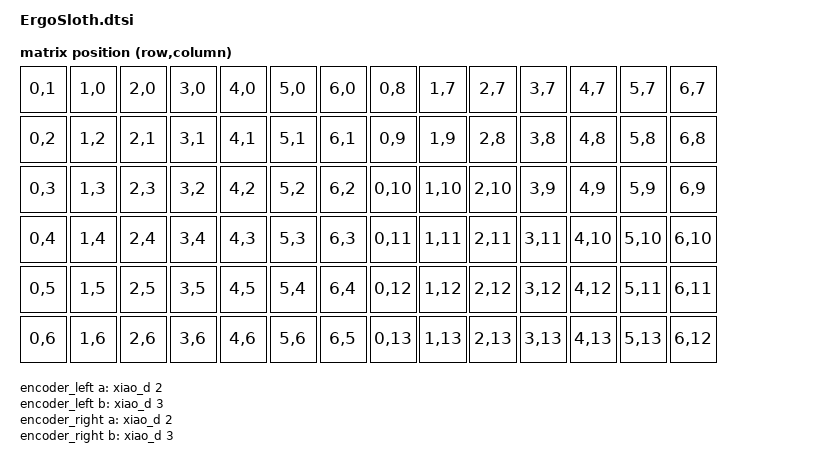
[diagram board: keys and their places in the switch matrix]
/*
 * Copyright (c) 2020 Pete Johanson
 *
 * SPDX-License-Identifier: MIT
 */

#include <physical_layouts.dtsi>
#include <dt-bindings/zmk/matrix_transform.h>
#include <dt-bindings/zmk/input_transform.h>
#include <dt-bindings/zmk/pointing.h>
#include <dt-bindings/zmk/bt.h>
#include <zephyr/dt-bindings/input/input-event-codes.h>
/* Reference: https://docs.zephyrproject.org/apidoc/latest/group__input__events.html */

#include "ErgoSloth-layouts.dtsi"

// Enable Analog Input
&adc {
	status = "okay";
};

// Inactivate I2C
&xiao_i2c { status = "disabled"; };

/ {

// encoders
    encoder_left: encoder_left {
        compatible = "alps,ec11";
        a-gpios = <&xiao_d 2 (GPIO_ACTIVE_HIGH | GPIO_PULL_UP)>;
        b-gpios = <&xiao_d 3 (GPIO_ACTIVE_HIGH | GPIO_PULL_UP)>;
        steps = <15>;
        status = "disabled";
    };

    encoder_right: encoder_right {
        compatible = "alps,ec11";
        a-gpios = <&xiao_d 2 (GPIO_ACTIVE_HIGH | GPIO_PULL_UP)>;
        b-gpios = <&xiao_d 3 (GPIO_ACTIVE_HIGH | GPIO_PULL_UP)>;
        steps = <15>;
        status = "disabled";
    };

    sensors: sensors {
        compatible = "zmk,keymap-sensors";
        sensors = <&encoder_left &encoder_right>;
        //triggers-per-rotation = <30>;  // From DataSheet
		triggers-per-rotation = <12>;
    };

// split options
    split_inputs {
        #address-cells = <1>;
        #size-cells = <0>;
/*
        glidepoint_left_split: glidepoint_left_split@1 {
            compatible = "zmk,input-split";
            reg = <1>;
        };
*/
        analog_joystick_left_split: analog_left_split@2 {
            compatible = "zmk,input-split";
            reg = <2>;
        };
    };

// trackball
    trackball_right_listener: trackball_right_listener {
        compatible = "zmk,input-listener";
        status = "disabled";
    };
/*
// touchpad
    glidepoint_left_listener: glidepoint_left_listener {
        compatible = "zmk,input-listener";
        status = "disabled";
        device = <&glidepoint_left_split>;
    };
*/
// joysticks
    analog_joystick_right_listener: analog_joystick_right_listener {
        status = "disabled";
        compatible = "zmk,input-listener";
    };

    analog_joystick_left_listener: analog_joystick_left_listener {
        status = "disabled";
        compatible = "zmk,input-listener";
        device = <&analog_joystick_left_split>;
    };

// keymap
    default_transform: keymap_transform_0 {
        compatible = "zmk,matrix-transform";
        columns = <14>;
        rows = <7>;

        //               | SW11 | SW16 | SW21 | SW26 |   | SW61 | SW66 | SW71 | SW76 |
        // | SW1  | SW6  | SW12 | SW17 | SW22 | SW27 |   | SW62 | SW67 | SW72 | SW77 | SW81 | SW86 |
        // | SW2  | SW7  | SW13 | SW18 | SW23 | SW28 |   | SW63 | SW68 | SW73 | SW78 | SW82 | SW87 |
        // | SW3  | SW8  | SW14 | SW19 | SW24 | SW29 |   | SW64 | SW69 | SW74 | SW79 | SW83 | SW88 |
        // | SW4  | SW9  | SW15 | SW20 | SW25 | SW30 |   | SW65 | SW70 | SW75 | SW80 | SW84 | SW89 |
        // | SW5  | SW10 | SW32 | SW33 | SW34 | (LAJS/   (RAJS) | SW95 | SW96 | SW97 | SW85 | SW90 |
        //                                      TouchPad)
        // 		                              | SW37 |   | SW92 |	    (TrackBall)
        // 							   | SW36 |					| SW93 |
        // | SW31 |				| SW35 |							   | SW94 |				| SW91 |
        //    (LeftRotaryEncoder)                                             (RightRotaryEncoder)
        //		  | SW38 |															 | SW98 |
        // | SW39 | SW42 | SW41 |											  | SW99 | SW102| SW101|
        // 		  | SW40 |															 | SW100|
        //                                             ||
        //                                           __||__
        //                                            \  /
        //                                             \/
		//
        // | SW1  | SW6  | SW11 | SW16 | SW21 | SW26 | SW32 |   | SW61 | SW66 | SW71 | SW76 | SW81 | SW86 | SW92 |
        // | SW2  | SW7  | SW12 | SW17 | SW22 | SW27 | SW33 |   | SW62 | SW67 | SW72 | SW77 | SW82 | SW87 | SW93 |
        // | SW3  | SW8  | SW13 | SW18 | SW23 | SW28 | SW34 |   | SW63 | SW68 | SW73 | SW78 | SW83 | SW88 | SW94 |
        // | SW4  | SW9  | SW14 | SW19 | SW24 | SW29 | SW35 |   | SW64 | SW69 | SW74 | SW79 | SW84 | SW89 | SW95 |
        // | SW5  | SW10 | SW15 | SW20 | SW25 | SW30 | SW36 |   | SW65 | SW70 | SW75 | SW80 | SW85 | SW90 | SW96 |
        // | SW38 | SW39 | SW40 | SW41 | SW42 | SW31 | SW37 |   | SW98 | SW99 | SW100| SW101| SW102| SW91 | SW97 |


        map = <
            RC(0,1) RC(1,0) RC(2,0) RC(3,0) RC(4,0) RC(5,0) RC(6,0)		RC(0,8) RC(1,7) RC(2,7) RC(3,7) RC(4,7) RC(5,7) RC(6,7)
            RC(0,2) RC(1,2) RC(2,1) RC(3,1) RC(4,1) RC(5,1) RC(6,1)     RC(0,9) RC(1,9) RC(2,8) RC(3,8) RC(4,8) RC(5,8) RC(6,8)
            RC(0,3) RC(1,3) RC(2,3) RC(3,2) RC(4,2) RC(5,2) RC(6,2)     RC(0,10) RC(1,10) RC(2,10) RC(3,9) RC(4,9) RC(5,9) RC(6,9)
            RC(0,4) RC(1,4) RC(2,4) RC(3,4) RC(4,3) RC(5,3) RC(6,3)     RC(0,11) RC(1,11) RC(2,11) RC(3,11) RC(4,10) RC(5,10) RC(6,10)
            RC(0,5) RC(1,5) RC(2,5) RC(3,5) RC(4,5) RC(5,4) RC(6,4)     RC(0,12) RC(1,12) RC(2,12) RC(3,12) RC(4,12) RC(5,11) RC(6,11)
			RC(0,6) RC(1,6) RC(2,6) RC(3,6) RC(4,6) RC(5,6) RC(6,5) 	RC(0,13) RC(1,13) RC(2,13) RC(3,13) RC(4,13) RC(5,13) RC(6,12)
        >;
    };

    kscan0: kscan {
        compatible = "zmk,kscan-gpio-charlieplex";
        wakeup-source;
        interrupt-gpios = <&xiao_d 4 (GPIO_ACTIVE_HIGH | GPIO_PULL_DOWN)>;
    };
};

// Use NFC pins as GPIOs
&uicr {
	nfct-pins-as-gpios;
};
    
&spi0 {
        status = "disabled";

        trackball_right: trackball_right@0 {
            status = "disabled";
            reg = <0>;
        };
};

&spi1 {
        status = "disabled";

        glidepoint_left: glidepoint_left@1 {
            status = "disabled";
            reg = <1>;
        };
};
